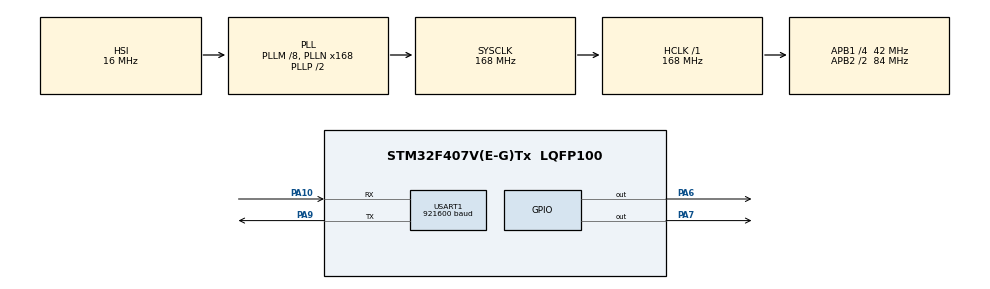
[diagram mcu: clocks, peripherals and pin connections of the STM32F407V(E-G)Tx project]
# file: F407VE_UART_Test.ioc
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Mcu.Family=STM32F4
Mcu.Name=STM32F407V(E-G)Tx
Mcu.Package=LQFP100
NVIC.PriorityGroup=NVIC_PRIORITYGROUP_4
NVIC.USART1_IRQn=true\:0\:0\:true\:false\:true\:true\:true
PA10.Mode=Asynchronous
PA10.Signal=USART1_RX
PA13.Mode=Trace_Asynchronous_SW
PA13.Signal=SYS_JTMS-SWDIO
PA14.Mode=Trace_Asynchronous_SW
PA14.Signal=SYS_JTCK-SWCLK
PA6.Signal=GPIO_Output
PA7.Signal=GPIO_Output
PA9.Mode=Asynchronous
PA9.Signal=USART1_TX
PB3.Mode=Trace_Asynchronous_SW
PB3.Signal=SYS_JTDO-SWO
PH0-OSC_IN.Mode=HSE-External-Oscillator
PH0-OSC_IN.Signal=RCC_OSC_IN
PH1-OSC_OUT.Mode=HSE-External-Oscillator
PH1-OSC_OUT.Signal=RCC_OSC_OUT
ProjectManager.HeapSize=0x200
ProjectManager.StackSize=0x400
ProjectManager.TargetToolchain=STM32CubeIDE
RCC.48MHZClocksFreq_Value=84000000
RCC.AHBFreq_Value=168000000
RCC.APB1CLKDivider=RCC_HCLK_DIV4
RCC.APB1Freq_Value=42000000
RCC.APB1TimFreq_Value=84000000
RCC.APB2CLKDivider=RCC_HCLK_DIV2
RCC.APB2Freq_Value=84000000
RCC.APB2TimFreq_Value=168000000
RCC.CortexFreq_Value=168000000
RCC.HCLKFreq_Value=168000000
RCC.HSE_VALUE=25000000
RCC.HSI_VALUE=16000000
RCC.LSE_VALUE=32768
RCC.PLLM=8
RCC.PLLN=168
RCC.SYSCLKFreq_VALUE=168000000
RCC.SYSCLKSource=RCC_SYSCLKSOURCE_PLLCLK
RCC.VCOOutputFreq_Value=336000000
USART1.BaudRate=921600
USART1.VirtualMode=VM_ASYNC
board=custom

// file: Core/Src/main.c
/* USER CODE BEGIN Header */
/**
  ******************************************************************************
  * @file           : main.c
  * @brief          : Main program body
  ******************************************************************************
  * @attention
  *
  * <h2><center>&copy; Copyright (c) 2020 STMicroelectronics.
  * All rights reserved.</center></h2>
  *
  * This software component is licensed by ST under BSD 3-Clause license,
  * the "License"; You may not use this file except in compliance with the
  * License. You may obtain a copy of the License at:
  *                        opensource.org/licenses/BSD-3-Clause
  *
  ******************************************************************************
  */
/* USER CODE END Header */

#include "main.h"

/* USER CODE BEGIN Includes */
#include <stdio.h>
#include "Snake_Queue.h"
/* USER CODE END Includes */

/* USER CODE BEGIN PD */
#define UART_RX_BUF_SIZE 50
/* USER CODE END PD */

UART_HandleTypeDef huart1;

/* USER CODE BEGIN PV */
uint8_t uart_rx_buf[UART_RX_BUF_SIZE];
SQ_t uart_sq;
/* USER CODE END PV */

void SystemClock_Config(void);
static void MX_GPIO_Init(void);
static void MX_USART1_UART_Init(void);

int main(void)
{

  /* MCU Configuration--------------------------------------------------------*/

  /* Reset of all peripherals, Initializes the Flash interface and the Systick. */
  HAL_Init();

  /* USER CODE BEGIN Init */
  SQ(&uart_sq, uart_rx_buf, UART_RX_BUF_SIZE);
  /* USER CODE END Init */

  /* Configure the system clock */
  SystemClock_Config();

  /* Initialize all configured peripherals */
  MX_GPIO_Init();
  MX_USART1_UART_Init();
  /* USER CODE BEGIN 2 */
  HAL_UART_Receive_IT(&huart1, (uint8_t*)&(uart_sq.SQ_feed_buffer), (uint16_t)1);
  /* USER CODE END 2 */

  /* Infinite loop */
  /* USER CODE BEGIN WHILE */
  while (1)
  {
	  if (SQAvailable(&uart_sq) > 0)
	  {
		  HAL_Delay(1);

		  uint32_t available = SQAvailable(&uart_sq);
		  uint8_t result[available + 1];

		  SQDequeueAll(&uart_sq, result, available);

		  result[available] = 0;
		  printf("%s\r\n", (char*)result);

		  HAL_UART_Transmit(&huart1, result, available, 1000);
		  HAL_UART_Transmit(&huart1, (uint8_t*)"\r\n", (uint16_t)2, (uint32_t)1000);
		  HAL_GPIO_TogglePin(GPIOA, GPIO_PIN_6);
	  }
    /* USER CODE END WHILE */

  }
}

void SystemClock_Config(void)
{
  RCC_OscInitTypeDef RCC_OscInitStruct = {0};
  RCC_ClkInitTypeDef RCC_ClkInitStruct = {0};

  /** Configure the main internal regulator output voltage
  */
  __HAL_RCC_PWR_CLK_ENABLE();
  __HAL_PWR_VOLTAGESCALING_CONFIG(PWR_REGULATOR_VOLTAGE_SCALE1);
  /** Initializes the CPU, AHB and APB busses clocks
  */
  RCC_OscInitStruct.OscillatorType = RCC_OSCILLATORTYPE_HSI;
  RCC_OscInitStruct.HSIState = RCC_HSI_ON;
  RCC_OscInitStruct.HSICalibrationValue = RCC_HSICALIBRATION_DEFAULT;
  RCC_OscInitStruct.PLL.PLLState = RCC_PLL_ON;
  RCC_OscInitStruct.PLL.PLLSource = RCC_PLLSOURCE_HSI;
  RCC_OscInitStruct.PLL.PLLM = 8;
  RCC_OscInitStruct.PLL.PLLN = 168;
  RCC_OscInitStruct.PLL.PLLP = RCC_PLLP_DIV2;
  RCC_OscInitStruct.PLL.PLLQ = 4;
  if (HAL_RCC_OscConfig(&RCC_OscInitStruct) != HAL_OK)
  {
    Error_Handler();
  }
  /** Initializes the CPU, AHB and APB busses clocks
  */
  RCC_ClkInitStruct.ClockType = RCC_CLOCKTYPE_HCLK|RCC_CLOCKTYPE_SYSCLK
                              |RCC_CLOCKTYPE_PCLK1|RCC_CLOCKTYPE_PCLK2;
  RCC_ClkInitStruct.SYSCLKSource = RCC_SYSCLKSOURCE_PLLCLK;
  RCC_ClkInitStruct.AHBCLKDivider = RCC_SYSCLK_DIV1;
  RCC_ClkInitStruct.APB1CLKDivider = RCC_HCLK_DIV4;
  RCC_ClkInitStruct.APB2CLKDivider = RCC_HCLK_DIV2;

  if (HAL_RCC_ClockConfig(&RCC_ClkInitStruct, FLASH_LATENCY_5) != HAL_OK)
  {
    Error_Handler();
  }
}

static void MX_USART1_UART_Init(void)
{

  huart1.Instance = USART1;
  huart1.Init.BaudRate = 921600;
  huart1.Init.WordLength = UART_WORDLENGTH_8B;
  huart1.Init.StopBits = UART_STOPBITS_1;
  huart1.Init.Parity = UART_PARITY_NONE;
  huart1.Init.Mode = UART_MODE_TX_RX;
  huart1.Init.HwFlowCtl = UART_HWCONTROL_NONE;
  huart1.Init.OverSampling = UART_OVERSAMPLING_16;
  if (HAL_UART_Init(&huart1) != HAL_OK)
  {
    Error_Handler();
  }

}

static void MX_GPIO_Init(void)
{
  GPIO_InitTypeDef GPIO_InitStruct = {0};

  /* GPIO Ports Clock Enable */
  __HAL_RCC_GPIOH_CLK_ENABLE();
  __HAL_RCC_GPIOA_CLK_ENABLE();
  __HAL_RCC_GPIOB_CLK_ENABLE();

  /*Configure GPIO pin Output Level */
  HAL_GPIO_WritePin(GPIOA, GPIO_PIN_6|GPIO_PIN_7, GPIO_PIN_RESET);

  /*Configure GPIO pins : PA6 PA7 */
  GPIO_InitStruct.Pin = GPIO_PIN_6|GPIO_PIN_7;
  GPIO_InitStruct.Mode = GPIO_MODE_OUTPUT_PP;
  GPIO_InitStruct.Pull = GPIO_NOPULL;
  GPIO_InitStruct.Speed = GPIO_SPEED_FREQ_LOW;
  HAL_GPIO_Init(GPIOA, &GPIO_InitStruct);

}

/* USER CODE BEGIN 4 */
int _write(int file, char *ptr, int len)
{
  /* Implement your write code here, this is used by puts and printf for example */
  int i=0;
  for(i=0 ; i<len ; i++)
    ITM_SendChar((*ptr++));
  return len;
}

void HAL_UART_RxCpltCallback(UART_HandleTypeDef *huart)
{
	SQEnqueue(&uart_sq, uart_sq.SQ_feed_buffer);
	HAL_UART_Receive_IT(&huart1, (uint8_t*)&(uart_sq.SQ_feed_buffer), (uint16_t)1);
}
/* USER CODE END 4 */

void Error_Handler(void)
{
}

/************************ (C) COPYRIGHT STMicroelectronics *****END OF FILE****/
